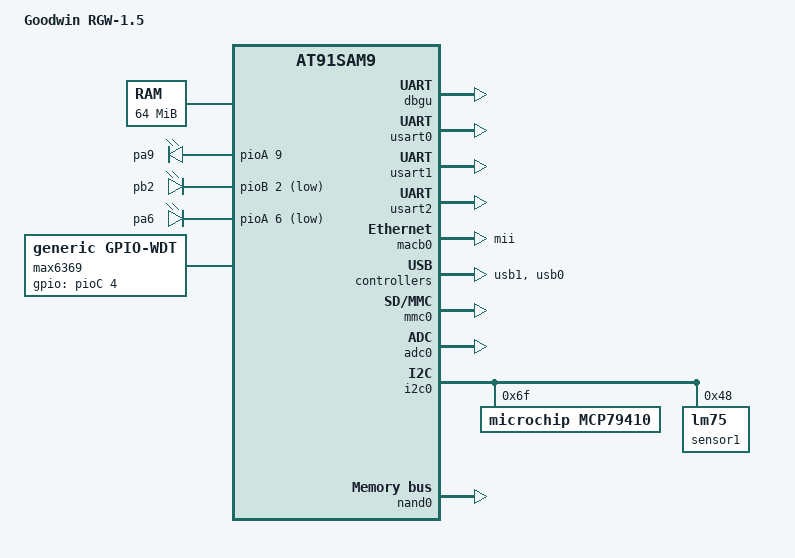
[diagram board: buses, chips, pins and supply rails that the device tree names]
/*
 * at91sam9g20ek.dts - Device Tree file for Atmel at91sam9g20ek board
 *
 * Copyright (C) 2012 Jean-Christophe PLAGNIOL-VILLARD <plagnioj@jcrosoft.com>
 *
 * Licensed under GPLv2.
 */
/dts-v1/;
/include/ "at91sam9g20.dtsi"

/ {
	model = "Goodwin RGW-1.5";
	compatible = "goodwin,rgw-1.5", "goodwin,at91sam9-extmac",
	             "atmel,at91sam9g20", "atmel,at91sam9";

	chosen {
		bootargs = "mem=64M console=ttyS0,115200 root=/dev/mtdblock5 rw rootfstype=ubifs";
	};

	memory {
		reg = <0x20000000 0x4000000>;
	};

	clocks {
		#address-cells = <1>;
		#size-cells = <1>;
		ranges;

		main_clock: clock@0 {
			compatible = "atmel,osc", "fixed-clock";
			clock-frequency = <18432000>;
		};
	};

	leds {
		compatible = "gpio-leds";

		pa9 {
			label = "pa9";
			gpios = <&pioA 9 0>;
			linux,default-trigger = "heartbeat";
		};

		pb2 {
			label = "pb2";
			gpios = <&pioB 2 1>;
		};

		pa6 {
			label = "pa6";
			gpios = <&pioA 6 1>;
		};
	};

	max6369 {
		/* WDT can be disabled by setting switch 1:1 to off */
		compatible = "generic,gpio-wdt";
		gpios = <&pioC 4 0>;
		ping-sec = <5>;
		timeout-sec = <60>;
	};

	ahb {
		apb {
			dbgu: serial@fffff200 {
				status = "okay";
			};

			usart0: serial@fffb0000 {
				pinctrl-0 =
					<&pinctrl_usart0
					 &pinctrl_usart0_rts
					 &pinctrl_usart0_cts
					 &pinctrl_usart0_dtr_dsr
					 &pinctrl_usart0_dcd
					 &pinctrl_usart0_ri>;
				status = "okay";
			};

			usart1: serial@fffb4000 {
				status = "okay";
				pinctrl-0 = <&pinctrl_usart1
				             &pinctrl_usart1_rts
				             &pinctrl_usart1_cts>;
			};

			/* FIXME: check serials one more time
			   find out how I missed pinctl-names in mmc0 */
			usart2: serial@fffb8000 {
				pinctrl-0 = <&pinctrl_usart2>;
				status = "okay";
			};

			macb0: ethernet@fffc4000 {
				phy-mode = "mii";
				status = "okay";
			};

			usb1: gadget@fffa4000 {
				atmel,vbus-gpio = <&pioC 5 0>;
				status = "okay";
			};


			mmc0: mmc@fffa8000 {
				pinctrl-0 = <
					&pinctrl_mmc0_clk
					&pinctrl_mmc0_slot1_cmd_dat0
					&pinctrl_mmc0_slot1_dat1_3>;
				pinctrl-names = "default";
				status = "okay";
				slot@1 {
					reg = <1>;
					bus-width = <4>;
				};
			};

			adc0: adc@fffe0000 {
				atmel,adc-channels-used = <0x1>;
				atmel,adc-num-channels = <1>;
				status = "okay";
			};

			i2c0: i2c@fffac000 {
				status = "okay";

				mcp79410: rtc@6f {
					compatible = "microchip,mcp79410";
					reg = <0x6f>;
				};

				sensor1: lm75@48 {
					compatible = "lm75";
					reg = <0x48>;
				};
			};

			watchdog@fffffd40 {
				status = "okay";
			};
		};

		nand0: nand@40000000 {
			nand-bus-width = <8>;
			nand-ecc-mode = "soft";
			nand-on-flash-bbt;
			status = "okay";
		};

		usb0: ohci@00500000 {
			num-ports = <2>;
			status = "okay";
			atmel,vbus-gpio = <&pioB 0 1>;
		};

		ax88796c0: ax88796c@10000000 {
			compatible = "asix,ax88796c";
			reg = <0x10000000 0x8000>;
			interrupts = <0x1d 0x0 0x3>;
			status = "okay";
		};
	};

};
